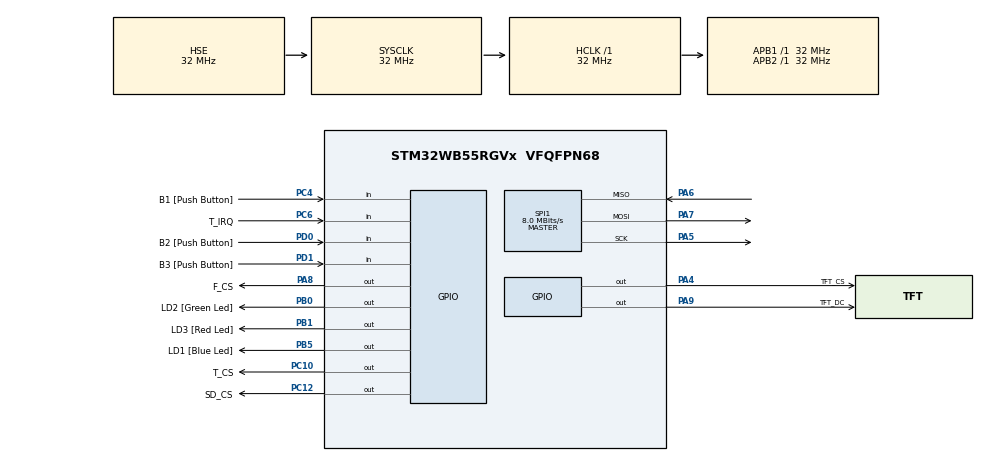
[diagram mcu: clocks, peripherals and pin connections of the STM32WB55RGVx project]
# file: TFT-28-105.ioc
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Mcu.Family=STM32WB
Mcu.Name=STM32WB55RGVx
Mcu.Package=VFQFPN68
NVIC.HSEM_IRQn=true\:0\:0\:false\:false\:true\:false\:true
NVIC.IPCC_C1_RX_IRQn=true\:0\:0\:false\:false\:true\:true\:true
NVIC.IPCC_C1_TX_IRQn=true\:0\:0\:false\:false\:true\:true\:true
NVIC.PriorityGroup=NVIC_PRIORITYGROUP_4
NVIC.RTC_WKUP_IRQn=true\:0\:0\:false\:false\:true\:true\:true
OSC_IN.Mode=HSE-External-Oscillator
OSC_IN.Signal=RCC_OSC_IN
OSC_OUT.Mode=HSE-External-Oscillator
OSC_OUT.Signal=RCC_OSC_OUT
PA13.GPIO_Label=JTMS
PA13.Mode=Trace_Asynchronous_SW
PA13.Signal=SYS_JTMS-SWDIO
PA14.GPIO_Label=JTCK
PA14.Mode=Trace_Asynchronous_SW
PA14.Signal=SYS_JTCK-SWCLK
PA4.GPIO_Label=TFT_CS
PA4.PinState=GPIO_PIN_SET
PA4.Signal=GPIO_Output
PA5.Mode=Full_Duplex_Master
PA5.Signal=SPI1_SCK
PA6.Mode=Full_Duplex_Master
PA6.Signal=SPI1_MISO
PA7.Mode=Full_Duplex_Master
PA7.Signal=SPI1_MOSI
PA8.GPIO_Label=F_CS
PA8.PinState=GPIO_PIN_SET
PA8.Signal=GPIO_Output
PA9.GPIO_Label=TFT_DC
PA9.Signal=GPIO_Output
PB0.GPIO_Label=LD2 [Green Led]
PB0.Signal=GPIO_Output
PB1.GPIO_Label=LD3 [Red Led]
PB1.Signal=GPIO_Output
PB3.GPIO_Label=JTDO
PB3.Mode=Trace_Asynchronous_SW
PB3.Signal=SYS_JTDO-SWO
PB5.GPIO_Label=LD1 [Blue Led]
PB5.Signal=GPIO_Output
PB6.GPIO_Label=STLINK_RX
PB6.GPIO_PuPd=GPIO_PULLUP
PB6.Signal=USART1_TX
PB7.GPIO_Label=STLINK_TX
PB7.GPIO_PuPd=GPIO_PULLUP
PB7.Signal=USART1_RX
PC10.GPIO_Label=T_CS
PC10.PinState=GPIO_PIN_SET
PC10.Signal=GPIO_Output
PC12.GPIO_Label=SD_CS
PC12.PinState=GPIO_PIN_SET
PC12.Signal=GPIO_Output
PC13.Mode=SYS_WakeUp1
PC13.Signal=SYS_WKUP2
PC14-OSC32_IN.Mode=LSE-External-Oscillator
PC14-OSC32_IN.Signal=RCC_OSC32_IN
PC15-OSC32_OUT.Mode=LSE-External-Oscillator
PC15-OSC32_OUT.Signal=RCC_OSC32_OUT
PC4.GPIO_Label=B1 [Push Button]
PC4.Signal=GPIO_Input
PC6.GPIO_Label=T_IRQ
PC6.Signal=GPIO_Input
PD0.GPIO_Label=B2 [Push Button]
PD0.Signal=GPIO_Input
PD1.GPIO_Label=B3 [Push Button]
PD1.Signal=GPIO_Input
ProjectManager.HeapSize=0x200
ProjectManager.StackSize=0x400
ProjectManager.TargetToolchain=STM32CubeIDE
RCC.ADCFreq_Value=48000000
RCC.AHBFreq_Value=32000000
RCC.APB1Freq_Value=32000000
RCC.APB1TimFreq_Value=32000000
RCC.APB2Freq_Value=32000000
RCC.APB2TimFreq_Value=32000000
RCC.APB3Freq_Value=16000000
RCC.CortexFreq_Value=32000000
RCC.HCLKFreq_Value=32000000
RCC.HSE_VALUE=32000000
RCC.HSI48_VALUE=48000000
RCC.HSI_VALUE=16000000
RCC.PLLN=32
RCC.PLLSAI1N=24
RCC.RFWKPClockSelection=RCC_RFWKPCLKSOURCE_LSE
RCC.RTCClockSelection=RCC_RTCCLKSOURCE_LSE
RCC.SMPSCLockSelectionVirtual=RCC_SMPSCLKSOURCE_HSI
RCC.SMPSCLockSelectionVirtualVirtual=RCC_SMPSCLKSOURCE_HSI
RCC.SMPSDivider=1
RCC.SYSCLKFreq_VALUE=32000000
RCC.SYSCLKSource=RCC_SYSCLKSOURCE_HSE
RCC.USBFreq_Value=48000000
RCC.VCOOutputFreq_Value=128000000
RF1.Mode=RF1_Activate
RF1.Signal=RF_RF1
SPI1.BaudRatePrescaler=SPI_BAUDRATEPRESCALER_4
SPI1.CalculateBaudRate=8.0 MBits/s
SPI1.DataSize=SPI_DATASIZE_8BIT
SPI1.Direction=SPI_DIRECTION_2LINES
SPI1.Mode=SPI_MODE_MASTER
SPI1.NSSPMode=SPI_NSS_PULSE_DISABLE
SPI1.VirtualType=VM_MASTER
STM32_WPAN.BLE_APPLICATION_TYPE=BLE_CLIENT_PROFILE
STM32_WPAN.CFG_TX_POWER=(0x1F) /* 6dBm */
VP_HSEM_VS_HSEM.Mode=HSEM_Activate
VP_IPCC_VS_IPCC.Mode=IPCC_Activate
VP_RTC_VS_RTC_Activate.Mode=RTC_Enabled
VP_RTC_VS_RTC_WakeUp_intern.Mode=WakeUp
VP_SEQUENCER_VS_SEQUENCER.Mode=SEQUENCER_Enabled
VP_STM32_WPAN_VS_BLE_HOST.Mode=STM32_WPAN_Enabled
VP_TINY_LPM_VS_TINY_LPM.Mode=TINY_LPM_Enabled
board=P-NUCLEO-WB55-Nucleo

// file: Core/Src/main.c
/* USER CODE BEGIN Header */
/**
  ******************************************************************************
  * @file           : main.c
  * @brief          : Main program body
  ******************************************************************************
  * @attention
  *
  * <h2><center>&copy; Copyright (c) 2021 STMicroelectronics.
  * All rights reserved.</center></h2>
  *
  * This software component is licensed by ST under BSD 3-Clause license,
  * the "License"; You may not use this file except in compliance with the
  * License. You may obtain a copy of the License at:
  *                        opensource.org/licenses/BSD-3-Clause
  *
  ******************************************************************************
  */
/*
 * Copyright 2021 - Olivier DEBON
 */
/* USER CODE END Header */
#include "main.h"

/* USER CODE BEGIN Includes */
#include <stdio.h>
#include "app.h"

/* USER CODE END Includes */

IPCC_HandleTypeDef hipcc;

RTC_HandleTypeDef hrtc;

SPI_HandleTypeDef hspi1;

void SystemClock_Config(void);
static void MX_GPIO_Init(void);
static void MX_SPI1_Init(void);
static void MX_IPCC_Init(void);
static void MX_RF_Init(void);
static void MX_RTC_Init(void);

int main(void)
{

  /* MCU Configuration--------------------------------------------------------*/

  /* Reset of all peripherals, Initializes the Flash interface and the Systick. */
  HAL_Init();
  /* Config code for STM32_WPAN (HSE Tuning must be done before system clock configuration) */
  MX_APPE_Config();

  /* Configure the system clock */
  SystemClock_Config();

  /* IPCC initialisation */
   MX_IPCC_Init();

  /* Initialize all configured peripherals */
  MX_GPIO_Init();
  MX_SPI1_Init();
  MX_RF_Init();
  MX_RTC_Init();

  /* Init code for STM32_WPAN */
  MX_APPE_Init();
  /* Infinite loop */
  /* USER CODE BEGIN WHILE */
  touchApp_Init(); // Must be called after MX_APPE_Init that disables all interrupts
  printf("Started...\n");

  while (1)
  {
    /* USER CODE END WHILE */
    MX_APPE_Process();

  }
}

void SystemClock_Config(void)
{
  RCC_OscInitTypeDef RCC_OscInitStruct = {0};
  RCC_ClkInitTypeDef RCC_ClkInitStruct = {0};
  RCC_PeriphCLKInitTypeDef PeriphClkInitStruct = {0};

  /** Configure LSE Drive Capability
  */
  HAL_PWR_EnableBkUpAccess();
  __HAL_RCC_LSEDRIVE_CONFIG(RCC_LSEDRIVE_LOW);
  /** Configure the main internal regulator output voltage
  */
  __HAL_PWR_VOLTAGESCALING_CONFIG(PWR_REGULATOR_VOLTAGE_SCALE1);
  /** Initializes the RCC Oscillators according to the specified parameters
  * in the RCC_OscInitTypeDef structure.
  */
  RCC_OscInitStruct.OscillatorType = RCC_OSCILLATORTYPE_HSI|RCC_OSCILLATORTYPE_HSE
                              |RCC_OSCILLATORTYPE_LSE;
  RCC_OscInitStruct.HSEState = RCC_HSE_ON;
  RCC_OscInitStruct.LSEState = RCC_LSE_ON;
  RCC_OscInitStruct.HSIState = RCC_HSI_ON;
  RCC_OscInitStruct.HSICalibrationValue = RCC_HSICALIBRATION_DEFAULT;
  RCC_OscInitStruct.PLL.PLLState = RCC_PLL_NONE;
  if (HAL_RCC_OscConfig(&RCC_OscInitStruct) != HAL_OK)
  {
    Error_Handler();
  }
  /** Configure the SYSCLKSource, HCLK, PCLK1 and PCLK2 clocks dividers
  */
  RCC_ClkInitStruct.ClockType = RCC_CLOCKTYPE_HCLK4|RCC_CLOCKTYPE_HCLK2
                              |RCC_CLOCKTYPE_HCLK|RCC_CLOCKTYPE_SYSCLK
                              |RCC_CLOCKTYPE_PCLK1|RCC_CLOCKTYPE_PCLK2;
  RCC_ClkInitStruct.SYSCLKSource = RCC_SYSCLKSOURCE_HSE;
  RCC_ClkInitStruct.AHBCLKDivider = RCC_SYSCLK_DIV1;
  RCC_ClkInitStruct.APB1CLKDivider = RCC_HCLK_DIV1;
  RCC_ClkInitStruct.APB2CLKDivider = RCC_HCLK_DIV1;
  RCC_ClkInitStruct.AHBCLK2Divider = RCC_SYSCLK_DIV1;
  RCC_ClkInitStruct.AHBCLK4Divider = RCC_SYSCLK_DIV1;

  if (HAL_RCC_ClockConfig(&RCC_ClkInitStruct, FLASH_LATENCY_1) != HAL_OK)
  {
    Error_Handler();
  }
  /** Initializes the peripherals clocks
  */
  PeriphClkInitStruct.PeriphClockSelection = RCC_PERIPHCLK_SMPS|RCC_PERIPHCLK_RFWAKEUP
                              |RCC_PERIPHCLK_RTC;
  PeriphClkInitStruct.RTCClockSelection = RCC_RTCCLKSOURCE_LSE;
  PeriphClkInitStruct.RFWakeUpClockSelection = RCC_RFWKPCLKSOURCE_LSE;
  PeriphClkInitStruct.SmpsClockSelection = RCC_SMPSCLKSOURCE_HSI;
  PeriphClkInitStruct.SmpsDivSelection = RCC_SMPSCLKDIV_RANGE0;
  if (HAL_RCCEx_PeriphCLKConfig(&PeriphClkInitStruct) != HAL_OK)
  {
    Error_Handler();
  }
}

static void MX_IPCC_Init(void)
{

  hipcc.Instance = IPCC;
  if (HAL_IPCC_Init(&hipcc) != HAL_OK)
  {
    Error_Handler();
  }

}

static void MX_RF_Init(void)
{

}

static void MX_RTC_Init(void)
{

  /** Initialize RTC Only
  */
  hrtc.Instance = RTC;
  hrtc.Init.HourFormat = RTC_HOURFORMAT_24;
  hrtc.Init.AsynchPrediv = CFG_RTC_ASYNCH_PRESCALER;
  hrtc.Init.SynchPrediv = CFG_RTC_SYNCH_PRESCALER;
  hrtc.Init.OutPut = RTC_OUTPUT_DISABLE;
  hrtc.Init.OutPutPolarity = RTC_OUTPUT_POLARITY_HIGH;
  hrtc.Init.OutPutType = RTC_OUTPUT_TYPE_OPENDRAIN;
  hrtc.Init.OutPutRemap = RTC_OUTPUT_REMAP_NONE;
  if (HAL_RTC_Init(&hrtc) != HAL_OK)
  {
    Error_Handler();
  }
  /** Enable the WakeUp
  */
  if (HAL_RTCEx_SetWakeUpTimer_IT(&hrtc, 0, RTC_WAKEUPCLOCK_RTCCLK_DIV16) != HAL_OK)
  {
    Error_Handler();
  }

}

static void MX_SPI1_Init(void)
{

  /* SPI1 parameter configuration*/
  hspi1.Instance = SPI1;
  hspi1.Init.Mode = SPI_MODE_MASTER;
  hspi1.Init.Direction = SPI_DIRECTION_2LINES;
  hspi1.Init.DataSize = SPI_DATASIZE_8BIT;
  hspi1.Init.CLKPolarity = SPI_POLARITY_LOW;
  hspi1.Init.CLKPhase = SPI_PHASE_1EDGE;
  hspi1.Init.NSS = SPI_NSS_SOFT;
  hspi1.Init.BaudRatePrescaler = SPI_BAUDRATEPRESCALER_4;
  hspi1.Init.FirstBit = SPI_FIRSTBIT_MSB;
  hspi1.Init.TIMode = SPI_TIMODE_DISABLE;
  hspi1.Init.CRCCalculation = SPI_CRCCALCULATION_DISABLE;
  hspi1.Init.CRCPolynomial = 7;
  hspi1.Init.CRCLength = SPI_CRC_LENGTH_DATASIZE;
  hspi1.Init.NSSPMode = SPI_NSS_PULSE_DISABLE;
  if (HAL_SPI_Init(&hspi1) != HAL_OK)
  {
    Error_Handler();
  }

}

static void MX_GPIO_Init(void)
{
  GPIO_InitTypeDef GPIO_InitStruct = {0};

  /* GPIO Ports Clock Enable */
  __HAL_RCC_GPIOC_CLK_ENABLE();
  __HAL_RCC_GPIOA_CLK_ENABLE();
  __HAL_RCC_GPIOB_CLK_ENABLE();
  __HAL_RCC_GPIOD_CLK_ENABLE();

  /*Configure GPIO pin Output Level */
  HAL_GPIO_WritePin(GPIOA, TFT_CS_Pin|F_CS_Pin, GPIO_PIN_SET);

  /*Configure GPIO pin Output Level */
  HAL_GPIO_WritePin(TFT_DC_GPIO_Port, TFT_DC_Pin, GPIO_PIN_RESET);

  /*Configure GPIO pin Output Level */
  HAL_GPIO_WritePin(GPIOB, LD2_Pin|LD3_Pin|LD1_Pin, GPIO_PIN_RESET);

  /*Configure GPIO pin Output Level */
  HAL_GPIO_WritePin(GPIOC, T_CS_Pin|SD_CS_Pin, GPIO_PIN_SET);

  /*Configure GPIO pins : TFT_CS_Pin F_CS_Pin TFT_DC_Pin */
  GPIO_InitStruct.Pin = TFT_CS_Pin|F_CS_Pin|TFT_DC_Pin;
  GPIO_InitStruct.Mode = GPIO_MODE_OUTPUT_PP;
  GPIO_InitStruct.Pull = GPIO_NOPULL;
  GPIO_InitStruct.Speed = GPIO_SPEED_FREQ_LOW;
  HAL_GPIO_Init(GPIOA, &GPIO_InitStruct);

  /*Configure GPIO pins : B1_Pin T_IRQ_Pin */
  GPIO_InitStruct.Pin = B1_Pin|T_IRQ_Pin;
  GPIO_InitStruct.Mode = GPIO_MODE_INPUT;
  GPIO_InitStruct.Pull = GPIO_NOPULL;
  HAL_GPIO_Init(GPIOC, &GPIO_InitStruct);

  /*Configure GPIO pins : LD2_Pin LD3_Pin LD1_Pin */
  GPIO_InitStruct.Pin = LD2_Pin|LD3_Pin|LD1_Pin;
  GPIO_InitStruct.Mode = GPIO_MODE_OUTPUT_PP;
  GPIO_InitStruct.Pull = GPIO_NOPULL;
  GPIO_InitStruct.Speed = GPIO_SPEED_FREQ_LOW;
  HAL_GPIO_Init(GPIOB, &GPIO_InitStruct);

  /*Configure GPIO pins : T_CS_Pin SD_CS_Pin */
  GPIO_InitStruct.Pin = T_CS_Pin|SD_CS_Pin;
  GPIO_InitStruct.Mode = GPIO_MODE_OUTPUT_PP;
  GPIO_InitStruct.Pull = GPIO_NOPULL;
  GPIO_InitStruct.Speed = GPIO_SPEED_FREQ_LOW;
  HAL_GPIO_Init(GPIOC, &GPIO_InitStruct);

  /*Configure GPIO pins : B2_Pin B3_Pin */
  GPIO_InitStruct.Pin = B2_Pin|B3_Pin;
  GPIO_InitStruct.Mode = GPIO_MODE_INPUT;
  GPIO_InitStruct.Pull = GPIO_NOPULL;
  HAL_GPIO_Init(GPIOD, &GPIO_InitStruct);

  /*Configure GPIO pins : STLINK_RX_Pin STLINK_TX_Pin */
  GPIO_InitStruct.Pin = STLINK_RX_Pin|STLINK_TX_Pin;
  GPIO_InitStruct.Mode = GPIO_MODE_AF_PP;
  GPIO_InitStruct.Pull = GPIO_PULLUP;
  GPIO_InitStruct.Speed = GPIO_SPEED_FREQ_LOW;
  GPIO_InitStruct.Alternate = GPIO_AF7_USART1;
  HAL_GPIO_Init(GPIOB, &GPIO_InitStruct);

}

/* USER CODE BEGIN 4 */

void changeSPIClock(uint32_t brPrescaler) {

	static uint32_t lastBrPrescaler = SPI_BAUDRATEPRESCALER_4; // From MX_SPI1_Init

	if (brPrescaler == lastBrPrescaler) return;

	HAL_SPI_DeInit(&hspi1);

	hspi1.Init.BaudRatePrescaler = brPrescaler;

	lastBrPrescaler = brPrescaler;

	HAL_SPI_Init(&hspi1);
}

#ifdef DEBUG
// Using SWV for debug printf
int __io_putchar(int ch) {
	ITM_SendChar(ch);
	return ch;
}
#endif

/* USER CODE END 4 */

void Error_Handler(void)
{
  __disable_irq();
  while (1)
  {
  }
}

/************************ (C) COPYRIGHT STMicroelectronics *****END OF FILE****/
